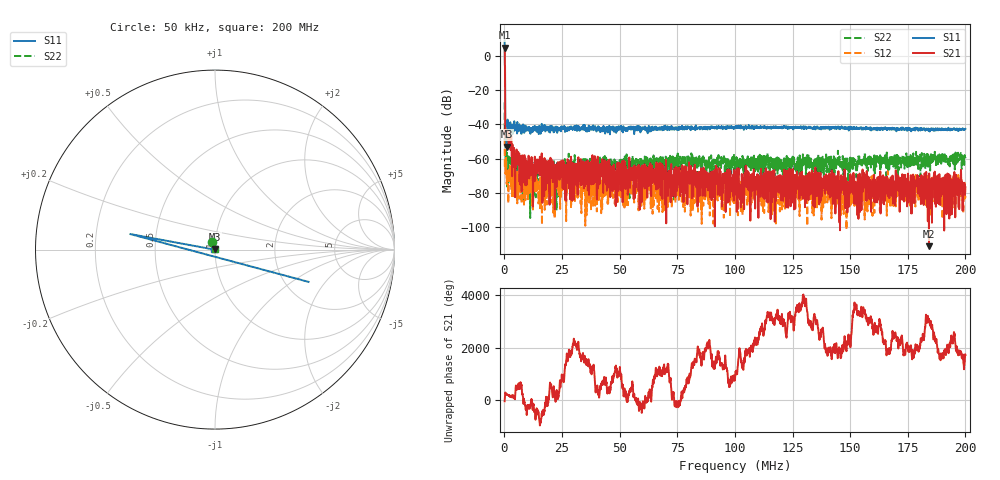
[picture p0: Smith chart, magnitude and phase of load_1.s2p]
! 26-Feb-26 1:58:38 PM
! E:\VNA_MEASUREMENTS\CAL_ENDS\LOAD_1.S2P
! CHANNEL.1
! TR.MEASUREMENT
! CORRECTED.DATA
# GHZ S RI R 50.0
! FREQ.GHZ  S11RE  S11IM  S21RE  S21IM  S12RE  S12IM  S22RE  S22IM
!; PortSelection: Port_12
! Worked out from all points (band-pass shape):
!   2000 points, 50 kHz to 200 MHz, reference 50 ohm
!   highest |S21| = 4.70 dB at 50 kHz (marker M1); lowest = -111.0 dB at 184.2 MHz (marker M2)
!   |S21| within 3 dB of the highest: start of sweep to 155.3 kHz
!   lowest |S11| = -52.8 dB at 950.2 kHz (marker M3), VSWR 1.00, Z = 49.8 + j0.118 ohm
!   |S11| at or under -10 dB: 259 kHz to end of sweep
!   |S22| runs from -94.5 to -27.1 dB; largest |S21 - S12| = 1.7
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5e-05  2.148 -1.825  1.228 -1.201  0.00776 -0.00103  -0.0184 0.0401
0.000950225  -0.00195 0.00119  -0.00325 -0.00385  0.000167 7.9e-05  0.000231 0.00151
0.001350325  -0.0137 -0.0019  -0.00537 -0.00243  -0.0003 0.000185  -0.000578 -0.000115
0.004151026  -0.00884 0.00304  -0.00178 0.00106  -0.000114 8.88e-05  0.000185 -0.00088
0.007551876  -0.00614 0.000899  0.000646 0.000122  -0.000192 -0.000363  0.000278 -1.13e-05
0.01095273  -0.00791 0.000349  -0.000387 0.000699  -0.000299 -4.44e-05  -6.77e-05 3.02e-05
0.01515378  -0.00902 0.000421  0.000294 -0.00029  -9.23e-05 1.93e-05  0.000147 -0.000347
0.0172543  -0.00929 -0.00163  7.12e-05 -3.9e-05  0.000206 -4.82e-05  0.000549 2.83e-05
0.0228557  -0.00566 -0.000858  -0.000357 -4.23e-05  0.000277 -0.000107  0.000239 0.000546
0.03345835  -0.00714 0.000343  -0.000127 -0.000115  0.00011 8.39e-05  0.000548 0.00016
0.03675918  -0.00635 0.00111  -0.000239 -6.57e-05  -1.47e-05 5.08e-05  0.00072 -9.56e-05
0.03875968  -0.00763 0.00152  -2.88e-05 0.000182  -0.000102 6.87e-05  0.000429 -1.48e-05
0.04786196  -0.00802 0.000408  0.000389 6e-05  5.1e-06 4.77e-05  4.39e-05 0.000646
0.05216303  -0.00747 -0.000269  0.000149 -0.000353  0.00031 -0.000187  0.00116 6.43e-05
0.05616403  -0.00835 0.000308  -7.57e-05 0.000144  7.61e-05 -7.6e-06  0.000513 0.000296
0.06676668  -0.00798 0.00048  0.000213 0.000206  -0.000224 -1.49e-05  0.000637 0.000535
0.100075  -0.00866 0.00114  -0.000108 5.85e-05  0.000146 2.99e-05  0.00053 0.000709
0.1333833  -0.00809 0.00124  -0.000446 5.13e-05  0.000219 -0.000105  0.000231 0.000584
0.1666917  -0.0076 0.00188  0.000184 -0.00011  -1.05e-05 -5.96e-05  0.000509 0.000703
0.184196  -0.00634 0.00177  -1.5e-06 2.4e-06  -0.000201 -2.14e-05  0.000877 0.000873
0.1976994  -0.00654 0.00221  0.000226 -3.86e-05  0.000161 0.000179  0.00113 0.000671
0.2  -0.00704 0.00235  2.44e-05 -0.000146  -6.82e-05 2.7e-05  0.000274 0.00101
